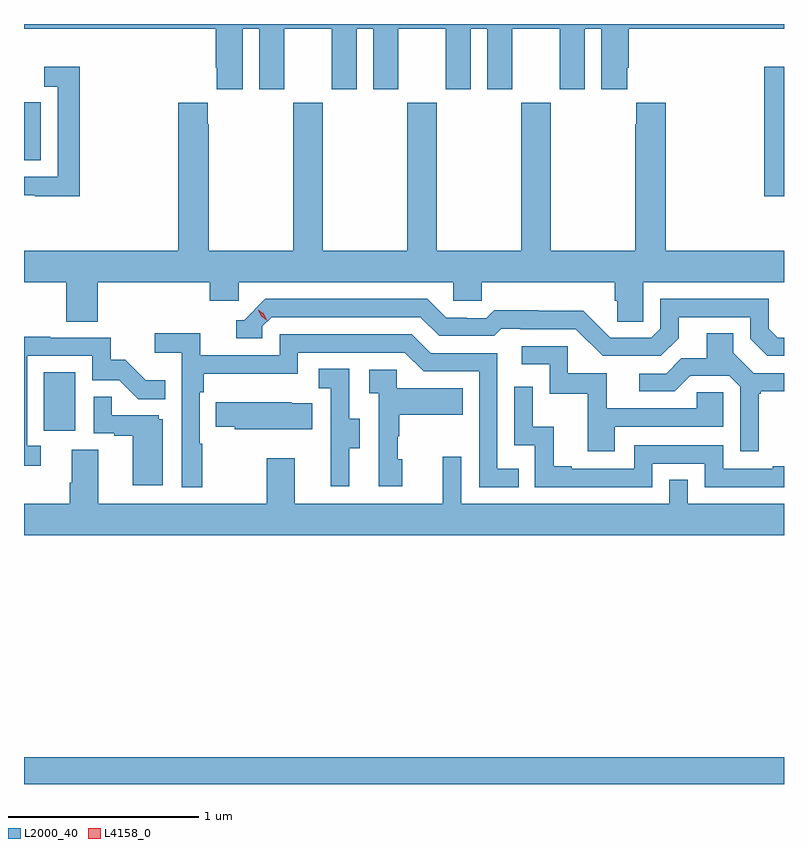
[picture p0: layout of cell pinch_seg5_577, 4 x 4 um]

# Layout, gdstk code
import gdstk
lib = gdstk.Library(unit=1e-6, precision=1e-09)
def R(c, l, rs):  # rectangles x0, y0, x1, y1
    for r in rs: c.add(gdstk.rectangle(r[:2], r[2:], *l))
def P(c, l, *ps):  # polygons
    for p in ps: c.add(gdstk.Polygon(p, *l))
L2000_40 = (2000, 40)
L4158_0 = (4158, 0)

pinch_seg5_577 = lib.new_cell('pinch_seg5_577')
R(pinch_seg5_577, L2000_40, [(1114.043,860.778,1118.043,860.92), (1114.148,862.638,1114.312,862.945), (1117.939,863.872,1118.043,864.553), (1114.043,864.06,1114.132,864.367)])
P(pinch_seg5_577, L2000_40, [(1115.194,864.752),(1115.282,864.752),(1115.282,864.435),(1115.413,864.435),(1115.413,864.752),(1115.663,864.752),(1115.663,864.435),(1115.794,864.435),(1115.794,864.752),(1115.882,864.752),(1115.882,864.435),(1116.013,864.435),(1116.013,864.752),(1116.263,864.752),(1116.263,864.435),(1116.394,864.435),(1116.394,864.752),(1116.482,864.752),(1116.482,864.435),(1116.613,864.435),(1116.613,864.752),(1116.863,864.752),(1116.863,864.435),(1116.994,864.435),(1116.994,864.752),(1117.082,864.752),(1117.082,864.435),(1117.219,864.435),(1117.219,864.547),(1117.226,864.547),(1117.226,864.752),(1118.043,864.752),(1118.043,864.778),(1114.043,864.778),(1114.043,864.752),(1115.051,864.752),(1115.051,864.547),(1115.057,864.547),(1115.057,864.435),(1115.194,864.435)],
  [(1114.337,864.553),(1114.149,864.553),(1114.149,864.447),(1114.221,864.447),(1114.221,863.973),(1114.043,863.973),(1114.043,863.877),(1114.099,863.877),(1114.099,863.872),(1114.337,863.872)],
  [(1114.43,863.42),(1115.021,863.42),(1115.021,863.322),(1115.172,863.322),(1115.172,863.42),(1116.303,863.42),(1116.303,863.322),(1116.453,863.322),(1116.453,863.42),(1117.151,863.42),(1117.151,863.322),(1117.165,863.322),(1117.165,863.212),(1117.302,863.212),(1117.302,863.42),(1118.043,863.42),(1118.043,863.584),(1117.421,863.584),(1117.421,864.364),(1117.265,864.364),(1117.265,864.251),(1117.261,864.251),(1117.261,863.584),(1116.816,863.584),(1116.816,864.364),(1116.661,864.364),(1116.661,863.584),(1116.216,863.584),(1116.216,864.364),(1116.061,864.364),(1116.061,863.584),(1115.616,863.584),(1115.616,864.364),(1115.461,864.364),(1115.461,863.584),(1115.016,863.584),(1115.016,864.251),(1115.011,864.251),(1115.011,864.364),(1114.856,864.364),(1114.856,863.584),(1114.043,863.584),(1114.043,863.42),(1114.265,863.42),(1114.265,863.212),(1114.43,863.212)],
  [(1117.489,863.125),(1117.489,863.235),(1117.866,863.235),(1117.866,863.121),(1117.956,863.031),(1118.043,863.031),(1118.043,863.127),(1118.01,863.127),(1117.962,863.175),(1117.962,863.331),(1117.392,863.331),(1117.392,863.175),(1117.344,863.127),(1117.128,863.127),(1116.986,863.269),(1116.75,863.269),(1116.75,863.272),(1116.517,863.272),(1116.475,863.229),(1116.372,863.229),(1116.372,863.232),(1116.265,863.232),(1116.166,863.331),(1115.313,863.331),(1115.202,863.22),(1115.159,863.22),(1115.159,863.124),(1115.298,863.124),(1115.298,863.187),(1115.346,863.235),(1116.129,863.235),(1116.228,863.136),(1116.517,863.136),(1116.556,863.175),(1116.655,863.175),(1116.655,863.172),(1116.948,863.172),(1117.089,863.031),(1117.395,863.031)],
  [(1117.909,862.833),(1117.921,862.833),(1117.921,862.844),(1118.043,862.844),(1118.043,862.941),(1117.884,862.941),(1117.777,863.048),(1117.777,863.15),(1117.637,863.15),(1117.637,863.018),(1117.502,863.018),(1117.422,862.938),(1117.281,862.938),(1117.281,862.845),(1117.468,862.845),(1117.549,862.926),(1117.755,862.926),(1117.812,862.869),(1117.812,862.53),(1117.909,862.53)],
  [(1114.981,862.568),(1114.968,862.568),(1114.968,862.841),(1114.988,862.841),(1114.988,862.937),(1115.484,862.937),(1115.484,863.049),(1116.048,863.049),(1116.147,862.95),(1116.438,862.95),(1116.438,862.341),(1116.647,862.341),(1116.647,862.437),(1116.534,862.437),(1116.534,863.046),(1116.184,863.046),(1116.085,863.145),(1115.388,863.145),(1115.388,863.034),(1114.97,863.034),(1114.97,863.15),(1114.731,863.15),(1114.731,863.048),(1114.872,863.048),(1114.872,862.341),(1114.981,862.341)],
  [(1114.132,862.557),(1114.059,862.557),(1114.059,863.031),(1114.401,863.031),(1114.401,862.902),(1114.545,862.902),(1114.643,862.804),(1114.787,862.804),(1114.787,862.903),(1114.683,862.903),(1114.576,863.01),(1114.5,863.01),(1114.5,863.127),(1114.181,863.127),(1114.181,863.132),(1114.043,863.132),(1114.043,862.452),(1114.132,862.452)],
  [(1117.153,862.659),(1117.722,862.659),(1117.722,862.839),(1117.585,862.839),(1117.585,862.755),(1117.111,862.755),(1117.111,862.941),(1116.906,862.941),(1116.906,863.082),(1116.663,863.082),(1116.663,862.986),(1116.81,862.986),(1116.81,862.833),(1117.009,862.833),(1117.009,862.53),(1117.153,862.53)],
  [(1115.755,862.546),(1115.809,862.546),(1115.809,862.701),(1115.754,862.701),(1115.754,862.964),(1115.595,862.964),(1115.595,862.861),(1115.658,862.861),(1115.658,862.557),(1115.657,862.557),(1115.657,862.344),(1115.755,862.344)],
  [(1116.034,862.488),(1116.009,862.488),(1116.009,862.607),(1116.019,862.607),(1116.019,862.721),(1116.353,862.721),(1116.353,862.861),(1116.006,862.861),(1116.006,862.959),(1115.859,862.959),(1115.859,862.835),(1115.91,862.835),(1115.91,862.344),(1116.034,862.344)],
  [(1117.35,862.464),(1117.626,862.464),(1117.626,862.341),(1118.043,862.341),(1118.043,862.45),(1117.985,862.45),(1117.985,862.437),(1117.722,862.437),(1117.722,862.56),(1117.254,862.56),(1117.254,862.437),(1116.925,862.437),(1116.925,862.45),(1116.83,862.45),(1116.83,862.658),(1116.72,862.658),(1116.72,862.87),(1116.624,862.87),(1116.624,862.56),(1116.732,862.56),(1116.732,862.341),(1117.35,862.341)],
  [(1114.774,862.698),(1114.752,862.698),(1114.752,862.719),(1114.505,862.719),(1114.505,862.817),(1114.41,862.817),(1114.41,862.623),(1114.517,862.623),(1114.517,862.611),(1114.616,862.611),(1114.616,862.35),(1114.774,862.35)],
  [(1115.561,862.783),(1115.453,862.783),(1115.453,862.786),(1115.053,862.786),(1115.053,862.657),(1115.151,862.657),(1115.151,862.646),(1115.561,862.646)],
  [(1118.043,862.252),(1117.536,862.252),(1117.536,862.379),(1117.44,862.379),(1117.44,862.252),(1116.345,862.252),(1116.345,862.501),(1116.248,862.501),(1116.248,862.252),(1115.467,862.252),(1115.467,862.492),(1115.32,862.492),(1115.32,862.252),(1114.435,862.252),(1114.435,862.538),(1114.295,862.538),(1114.295,862.364),(1114.283,862.364),(1114.283,862.252),(1114.043,862.252),(1114.043,862.088),(1118.043,862.088)])
P(pinch_seg5_577, L4158_0, [(1115.321,863.22),(1115.291,863.24),(1115.275,863.274),(1115.275,863.274),(1115.275,863.274),(1115.306,863.253),(1115.321,863.22),(1115.321,863.22)])

lib.write_gds('pinch_seg5_577.gds')
